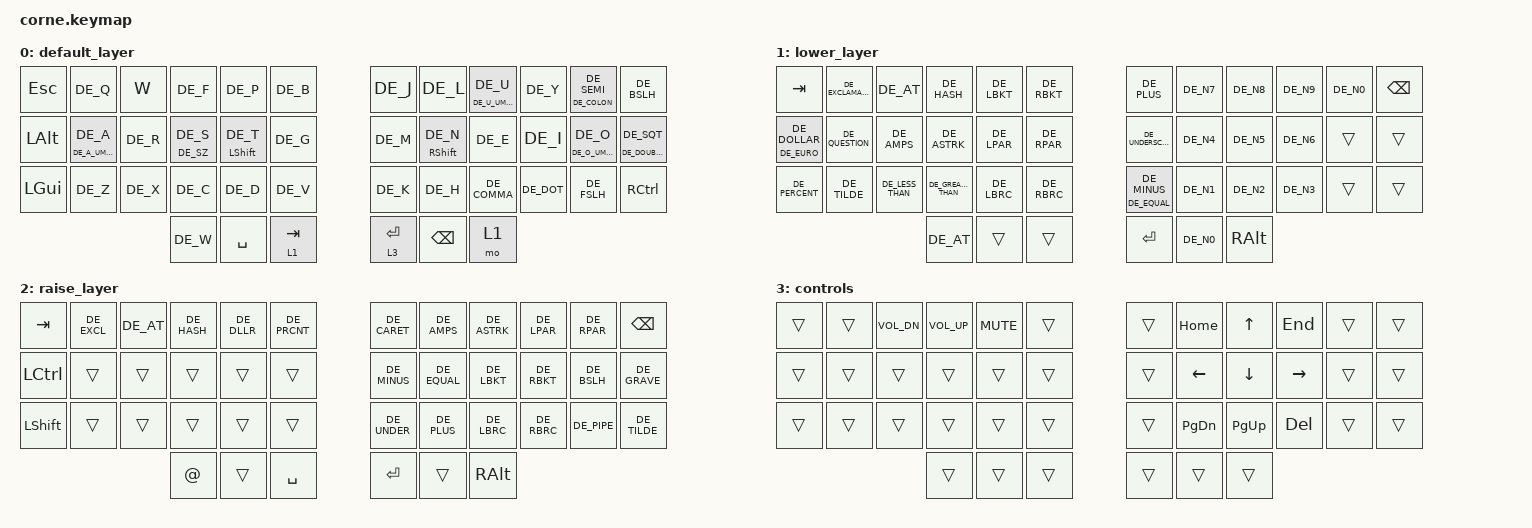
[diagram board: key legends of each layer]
/*
 * Copyright (c) 2020 The ZMK Contributors
 *
 * SPDX-License-Identifier: MIT
 */

#include <behaviors.dtsi>
#include <dt-bindings/zmk/keys.h>
#include "keys_de.h"

&mt {
    tapping-term-ms = <300>;
    flavor = "balanced";
    require-prior-idle-ms = <150>;
    quick-tap-ms = <200>;
};

&lt {
    tapping-term-ms = <200>;
    flavor = "balanced";
};

/ {
    keymap {
        compatible = "zmk,keymap";

        default_layer {
            // -----------------------------------------------------------------------------------------
            // |  ESC |  Q  |  W  |  F  |  P  |  B  |   |  J  |  L   | [/U |  Y  |  ;  |  \   |
            // | LALT | '/A |  R  | -/S | ⇧/T |  G  |   |  M  | ⇧/N  |  E  |  I  | ;/O |  '   |
            // | LGUI |  Z  |  X  |  C  |  D  |  V  |   |  K  |  H   |  ,  |  .  |  /  | RCTL |
            //                    | GUI | SPC | TAB |   | ENT | BSPC | ALT |

            bindings = <
&kp ESCAPE    &kp DE_Q              &kp W     &kp DE_F        &kp DE_P             &kp DE_B     &kp DE_J     &kp DE_L              &mt DE_U_UMLAUT DE_U  &kp DE_Y    &mt DE_COLON DE_SEMI  &kp DE_BSLH
&kp LEFT_ALT  &mt DE_A_UMLAUT DE_A  &kp DE_R  &mt DE_SZ DE_S  &mt LEFT_SHIFT DE_T  &kp DE_G     &kp DE_M     &mt RIGHT_SHIFT DE_N  &kp DE_E              &kp DE_I    &mt DE_O_UMLAUT DE_O  &mt DE_DOUBLE_QUOTES DE_SQT
&kp LEFT_GUI  &kp DE_Z              &kp DE_X  &kp DE_C        &kp DE_D             &kp DE_V     &kp DE_K     &kp DE_H              &kp DE_COMMA          &kp DE_DOT  &kp DE_FSLH           &kp RCTRL
                                              &kp DE_W        &kp SPACE            &lt 1 TAB    &lt 3 ENTER  &kp BACKSPACE         &mo 1
            >;
        };

        lower_layer {
            // -----------------------------------------------------------------------------------------
            // | TAB  |  1  |  @  |  #  |  [  |  ]  |   |  +  |  7  |  8  |  9  |  0  | BSPC |
            // | BTCLR| BT1 |  &  |  *  |  (  |  )  |   |  ~  |  4  |  5  |  6  |     |      |
            // | SHFT |     |     |  %  |  {  |  }  |   |  -  |  1  |  2  |  3  |     |      |
            //                    | GUI |     |     |   | ENT | RSH | ALT |

            bindings = <
&kp TAB                &kp DE_EXCLAMATION  &kp DE_AT         &kp DE_HASH          &kp DE_LBKT  &kp DE_RBKT    &kp DE_PLUS            &kp DE_N7  &kp DE_N8  &kp DE_N9  &kp DE_N0  &kp BSPC
&mt DE_EURO DE_DOLLAR  &kp DE_QUESTION     &kp DE_AMPS       &kp DE_ASTRK         &kp DE_LPAR  &kp DE_RPAR    &kp DE_UNDERSCORE      &kp DE_N4  &kp DE_N5  &kp DE_N6  &trans     &trans
&kp DE_PERCENT         &kp DE_TILDE        &kp DE_LESS_THAN  &kp DE_GREATER_THAN  &kp DE_LBRC  &kp DE_RBRC    &mt DE_EQUAL DE_MINUS  &kp DE_N1  &kp DE_N2  &kp DE_N3  &trans     &trans
                                                             &kp DE_AT            &trans       &trans         &kp RET                &kp DE_N0  &kp RALT
            >;
        };

        raise_layer {
            // -----------------------------------------------------------------------------------------
            // | TAB  |  !  |  @  |  #  |  $  |  %  |   |  ^  |  &  |  *  |  (  |  )  | BSPC |
            // | CTRL |     |     |     |     |     |   |  -  |  =  |  [  |  ]  |  \  |  `   |
            // | SHFT |     |     |     |     |     |   |  _  |  +  |  {  |  }  | "|" |  ~   |
            //                    | GUI |     | SPC |   | ENT |     | ALT |

            bindings = <
&kp TAB    &kp DE_EXCL  &kp DE_AT  &kp DE_HASH  &kp DE_DLLR  &kp DE_PRCNT    &kp DE_CARET  &kp DE_AMPS   &kp DE_ASTRK  &kp DE_LPAR  &kp DE_RPAR  &kp BSPC
&kp LCTRL  &trans       &trans     &trans       &trans       &trans          &kp DE_MINUS  &kp DE_EQUAL  &kp DE_LBKT   &kp DE_RBKT  &kp DE_BSLH  &kp DE_GRAVE
&kp LSHFT  &trans       &trans     &trans       &trans       &trans          &kp DE_UNDER  &kp DE_PLUS   &kp DE_LBRC   &kp DE_RBRC  &kp DE_PIPE  &kp DE_TILDE
                                   &kp AT_SIGN  &trans       &kp SPACE       &kp RET       &trans        &kp RALT
            >;
        };

        controls {
            bindings = <
&trans  &trans  &kp C_VOL_DN  &kp C_VOLUME_UP  &kp K_MUTE  &trans    &trans  &kp HOME        &kp UP          &kp END     &trans  &trans
&trans  &trans  &trans        &trans           &trans      &trans    &trans  &kp LEFT_ARROW  &kp DOWN_ARROW  &kp RIGHT   &trans  &trans
&trans  &trans  &trans        &trans           &trans      &trans    &trans  &kp PAGE_DOWN   &kp PAGE_UP     &kp DELETE  &trans  &trans
                              &trans           &trans      &trans    &trans  &trans          &trans
            >;
        };
    };
};
